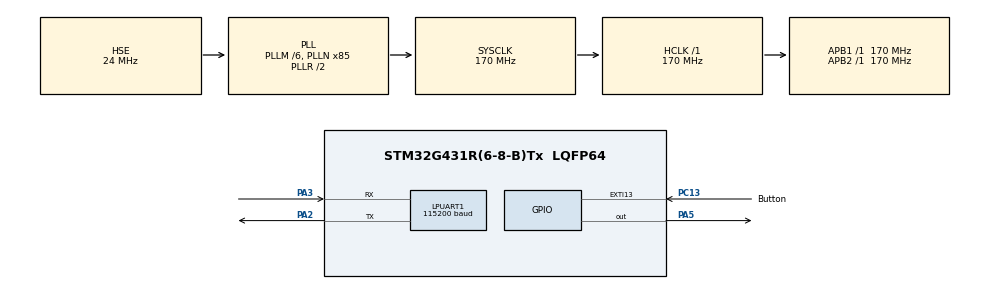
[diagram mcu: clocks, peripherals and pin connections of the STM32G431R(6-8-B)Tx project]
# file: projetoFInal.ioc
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FREERTOS.Tasks01=defaultTask,0,128,StartDefaultTask,Default,NULL,Dynamic,NULL,NULL
FREERTOS.configENABLE_FPU=1
FREERTOS.configTOTAL_HEAP_SIZE=4096
FREERTOS.configUSE_NEWLIB_REENTRANT=1
LPUART1.BaudRate=115200
Mcu.Family=STM32G4
Mcu.Name=STM32G431R(6-8-B)Tx
Mcu.Package=LQFP64
NVIC.EXTI15_10_IRQn=true\:5\:0\:false\:false\:true\:true\:true\:true\:true
NVIC.LPUART1_IRQn=true\:5\:0\:false\:false\:true\:true\:true\:true\:true
NVIC.PriorityGroup=NVIC_PRIORITYGROUP_4
NVIC.TIM1_UP_TIM16_IRQn=true\:15\:0\:false\:false\:true\:false\:false\:true\:true
NVIC.TimeBase=TIM1_UP_TIM16_IRQn
NVIC.TimeBaseIP=TIM1
PA13.Mode=Serial_Wire
PA13.Signal=SYS_JTMS-SWDIO
PA14.Mode=Serial_Wire
PA14.Signal=SYS_JTCK-SWCLK
PA2.Mode=Asynchronous
PA2.Signal=LPUART1_TX
PA3.Mode=Asynchronous
PA3.Signal=LPUART1_RX
PA5.Signal=GPIO_Output
PC13.GPIO_Label=Button
PC13.GPIO_PuPd=GPIO_PULLDOWN
PC13.Signal=GPXTI13
PF0-OSC_IN.Mode=HSE-External-Oscillator
PF0-OSC_IN.Signal=RCC_OSC_IN
PF1-OSC_OUT.Mode=HSE-External-Oscillator
PF1-OSC_OUT.Signal=RCC_OSC_OUT
ProjectManager.HeapSize=0x200
ProjectManager.StackSize=0x400
ProjectManager.TargetToolchain=STM32CubeIDE
RCC.ADC12Freq_Value=170000000
RCC.AHBFreq_Value=170000000
RCC.APB1Freq_Value=170000000
RCC.APB1TimFreq_Value=170000000
RCC.APB2Freq_Value=170000000
RCC.APB2TimFreq_Value=170000000
RCC.CortexFreq_Value=170000000
RCC.EXTERNAL_CLOCK_VALUE=12288000
RCC.HCLKFreq_Value=170000000
RCC.HSE_VALUE=24000000
RCC.HSI48_VALUE=48000000
RCC.HSI_VALUE=16000000
RCC.LSE_VALUE=32768
RCC.PLLM=RCC_PLLM_DIV6
RCC.PLLN=85
RCC.PLLSourceVirtual=RCC_PLLSOURCE_HSE
RCC.SYSCLKFreq_VALUE=170000000
RCC.SYSCLKSource=RCC_SYSCLKSOURCE_PLLCLK
RCC.USBFreq_Value=170000000
RCC.VCOOutputFreq_Value=340000000
VP_FREERTOS_VS_CMSIS_V1.Mode=CMSIS_V1
VP_SYS_VS_DBSignals.Mode=DisableDeadBatterySignals
VP_SYS_VS_tim1.Mode=TIM1
board=custom

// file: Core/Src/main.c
/* USER CODE BEGIN Header */
/**
  ******************************************************************************
  * @file           : main.c
  * @brief          : Main program body
  ******************************************************************************
  * @attention
  *
  * Copyright (c) 2025 STMicroelectronics.
  * All rights reserved.
  *
  * This software is licensed under terms that can be found in the LICENSE file
  * in the root directory of this software component.
  * If no LICENSE file comes with this software, it is provided AS-IS.
  *
  ******************************************************************************
  */
/* USER CODE END Header */
#include "main.h"
#include "cmsis_os.h"

/* USER CODE BEGIN Includes */
#include "semphr.h"
#include "queue.h"

/* USER CODE END Includes */

/* USER CODE BEGIN PTD */
typedef struct {
	GPIO_TypeDef* port;
	uint16_t pin;
	TickType_t time;
}led_t;
/* USER CODE END PTD */

UART_HandleTypeDef hlpuart1;

osThreadId defaultTaskHandle;
/* USER CODE BEGIN PV */
SemaphoreHandle_t bSemaphore;
SemaphoreHandle_t lSemaphore;
SemaphoreHandle_t sUART;
SemaphoreHandle_t mUART;
/* USER CODE END PV */

void SystemClock_Config(void);
static void MX_GPIO_Init(void);
static void MX_LPUART1_UART_Init(void);
void StartDefaultTask(void const * argument);

/* USER CODE BEGIN 0 */

void led_task(void *args){
	led_t *led = (led_t *) args;

	while(1){
		if(xSemaphoreTake(lSemaphore,portMAX_DELAY)==pdTRUE){
			HAL_GPIO_TogglePin(led->port, led->pin);
			vTaskDelay(led->time);
		}
	}
}

void button_task(){

	while(1){
		xSemaphoreTake(bSemaphore,portMAX_DELAY);
		vTaskDelay(50);
		HAL_NVIC_EnableIRQ(EXTI15_10_IRQn);
		xSemaphoreGive(lSemaphore);

	}
}

void uart_task(void *argument){

	uint8_t *string = (uint8_t *) "Ola Mundo da tarefa 1!\n\r";

	while(1){

		if(xSemaphoreTake(mUART,portMAX_DELAY)== pdTRUE){

			HAL_UART_Transmit_IT(&hlpuart1, string, 25);

			xSemaphoreTake(sUART, portMAX_DELAY);
		}
		xSemaphoreGive(mUART);
	}
}

void HAL_UART_TxCpltCallback(UART_HandleTypeDef *huart){
	signed portBASE_TYPE pxHigherPriorityTaskWokenTX = pdFALSE;

	xSemaphoreGiveFromISR(sUART, &pxHigherPriorityTaskWokenTX);

	if (pxHigherPriorityTaskWokenTX == pdTRUE)
	{
		portYIELD();
	}
}

/* USER CODE END 0 */

int main(void)
{

  /* USER CODE BEGIN 1 */
	static led_t led = {.port = GPIOA, .pin = GPIO_PIN_5, .time = 500};
	//(void)xTaskCreate(button_task, "button_task", 1024, NULL, 7, NULL);

  /* USER CODE END 1 */

  /* MCU Configuration--------------------------------------------------------*/

  /* Reset of all peripherals, Initializes the Flash interface and the Systick. */
  HAL_Init();

  /* Configure the system clock */
  SystemClock_Config();

  /* Initialize all configured peripherals */
  MX_GPIO_Init();
  MX_LPUART1_UART_Init();

  /* USER CODE BEGIN RTOS_SEMAPHORES */
  /* add semaphores, ... */
  bSemaphore = xSemaphoreCreateBinary();
  lSemaphore = xSemaphoreCreateBinary();
  sUART = xSemaphoreCreateBinary();
  mUART = xSemaphoreCreateMutex();
  /* USER CODE END RTOS_SEMAPHORES */

  /* Create the thread(s) */
  /* definition and creation of defaultTask */
  osThreadDef(defaultTask, StartDefaultTask, osPriorityNormal, 0, 128);
  defaultTaskHandle = osThreadCreate(osThread(defaultTask), NULL);

  /* USER CODE BEGIN RTOS_THREADS */
  /* add threads, ... */
	(void)xTaskCreate(led_task, "led_task", 256, &led, 1, NULL);
	(void)xTaskCreate(uart_task, "uart_task", 256, NULL, 2, NULL);
  /* USER CODE END RTOS_THREADS */

  /* Start scheduler */
  osKernelStart();

  /* We should never get here as control is now taken by the scheduler */

  /* Infinite loop */
  while (1)
  {

  }
}

void SystemClock_Config(void)
{
  RCC_OscInitTypeDef RCC_OscInitStruct = {0};
  RCC_ClkInitTypeDef RCC_ClkInitStruct = {0};

  /** Configure the main internal regulator output voltage
  */
  HAL_PWREx_ControlVoltageScaling(PWR_REGULATOR_VOLTAGE_SCALE1_BOOST);

  /** Initializes the RCC Oscillators according to the specified parameters
  * in the RCC_OscInitTypeDef structure.
  */
  RCC_OscInitStruct.OscillatorType = RCC_OSCILLATORTYPE_HSE;
  RCC_OscInitStruct.HSEState = RCC_HSE_ON;
  RCC_OscInitStruct.PLL.PLLState = RCC_PLL_ON;
  RCC_OscInitStruct.PLL.PLLSource = RCC_PLLSOURCE_HSE;
  RCC_OscInitStruct.PLL.PLLM = RCC_PLLM_DIV6;
  RCC_OscInitStruct.PLL.PLLN = 85;
  RCC_OscInitStruct.PLL.PLLP = RCC_PLLP_DIV2;
  RCC_OscInitStruct.PLL.PLLQ = RCC_PLLQ_DIV2;
  RCC_OscInitStruct.PLL.PLLR = RCC_PLLR_DIV2;
  if (HAL_RCC_OscConfig(&RCC_OscInitStruct) != HAL_OK)
  {
    Error_Handler();
  }

  /** Initializes the CPU, AHB and APB buses clocks
  */
  RCC_ClkInitStruct.ClockType = RCC_CLOCKTYPE_HCLK|RCC_CLOCKTYPE_SYSCLK
                              |RCC_CLOCKTYPE_PCLK1|RCC_CLOCKTYPE_PCLK2;
  RCC_ClkInitStruct.SYSCLKSource = RCC_SYSCLKSOURCE_PLLCLK;
  RCC_ClkInitStruct.AHBCLKDivider = RCC_SYSCLK_DIV1;
  RCC_ClkInitStruct.APB1CLKDivider = RCC_HCLK_DIV1;
  RCC_ClkInitStruct.APB2CLKDivider = RCC_HCLK_DIV1;

  if (HAL_RCC_ClockConfig(&RCC_ClkInitStruct, FLASH_LATENCY_4) != HAL_OK)
  {
    Error_Handler();
  }
}

static void MX_LPUART1_UART_Init(void)
{

  hlpuart1.Instance = LPUART1;
  hlpuart1.Init.BaudRate = 115200;
  hlpuart1.Init.WordLength = UART_WORDLENGTH_8B;
  hlpuart1.Init.StopBits = UART_STOPBITS_1;
  hlpuart1.Init.Parity = UART_PARITY_NONE;
  hlpuart1.Init.Mode = UART_MODE_TX_RX;
  hlpuart1.Init.HwFlowCtl = UART_HWCONTROL_NONE;
  hlpuart1.Init.OneBitSampling = UART_ONE_BIT_SAMPLE_DISABLE;
  hlpuart1.Init.ClockPrescaler = UART_PRESCALER_DIV1;
  hlpuart1.AdvancedInit.AdvFeatureInit = UART_ADVFEATURE_NO_INIT;
  if (HAL_UART_Init(&hlpuart1) != HAL_OK)
  {
    Error_Handler();
  }
  if (HAL_UARTEx_SetTxFifoThreshold(&hlpuart1, UART_TXFIFO_THRESHOLD_1_8) != HAL_OK)
  {
    Error_Handler();
  }
  if (HAL_UARTEx_SetRxFifoThreshold(&hlpuart1, UART_RXFIFO_THRESHOLD_1_8) != HAL_OK)
  {
    Error_Handler();
  }
  if (HAL_UARTEx_DisableFifoMode(&hlpuart1) != HAL_OK)
  {
    Error_Handler();
  }

}

static void MX_GPIO_Init(void)
{
  GPIO_InitTypeDef GPIO_InitStruct = {0};

  /* GPIO Ports Clock Enable */
  __HAL_RCC_GPIOC_CLK_ENABLE();
  __HAL_RCC_GPIOF_CLK_ENABLE();
  __HAL_RCC_GPIOA_CLK_ENABLE();

  /*Configure GPIO pin Output Level */
  HAL_GPIO_WritePin(GPIOA, GPIO_PIN_5, GPIO_PIN_RESET);

  /*Configure GPIO pin : Button_Pin */
  GPIO_InitStruct.Pin = Button_Pin;
  GPIO_InitStruct.Mode = GPIO_MODE_IT_RISING;
  GPIO_InitStruct.Pull = GPIO_PULLDOWN;
  HAL_GPIO_Init(Button_GPIO_Port, &GPIO_InitStruct);

  /*Configure GPIO pin : PA5 */
  GPIO_InitStruct.Pin = GPIO_PIN_5;
  GPIO_InitStruct.Mode = GPIO_MODE_OUTPUT_PP;
  GPIO_InitStruct.Pull = GPIO_NOPULL;
  GPIO_InitStruct.Speed = GPIO_SPEED_FREQ_LOW;
  HAL_GPIO_Init(GPIOA, &GPIO_InitStruct);

  /* EXTI interrupt init*/
  HAL_NVIC_SetPriority(EXTI15_10_IRQn, 5, 0);
  HAL_NVIC_EnableIRQ(EXTI15_10_IRQn);

}

/* USER CODE BEGIN 4 */
void HAL_GPIO_EXITI_Callback(uint16_t GPIO_Pin)
{
	BaseType_t xHigherPriorityTaskWoken = pdFALSE;
	if (GPIO_Pin == Button_Pin)
	{
		HAL_NVIC_DisableIRQ(EXTI15_10_IRQn);
		xSemaphoreGiveFromISR(bSemaphore, &xHigherPriorityTaskWoken);
		portYIELD_FROM_ISR(xHigherPriorityTaskWoken);
	}
}
/* USER CODE END 4 */

void StartDefaultTask(void const * argument)
{
  for(;;)
  {
    osDelay(1);
  }
}

void HAL_TIM_PeriodElapsedCallback(TIM_HandleTypeDef *htim)
{
  if (htim->Instance == TIM1)
  {
    HAL_IncTick();
  }
}

void Error_Handler(void)
{
  __disable_irq();
  while (1)
  {
  }
}
